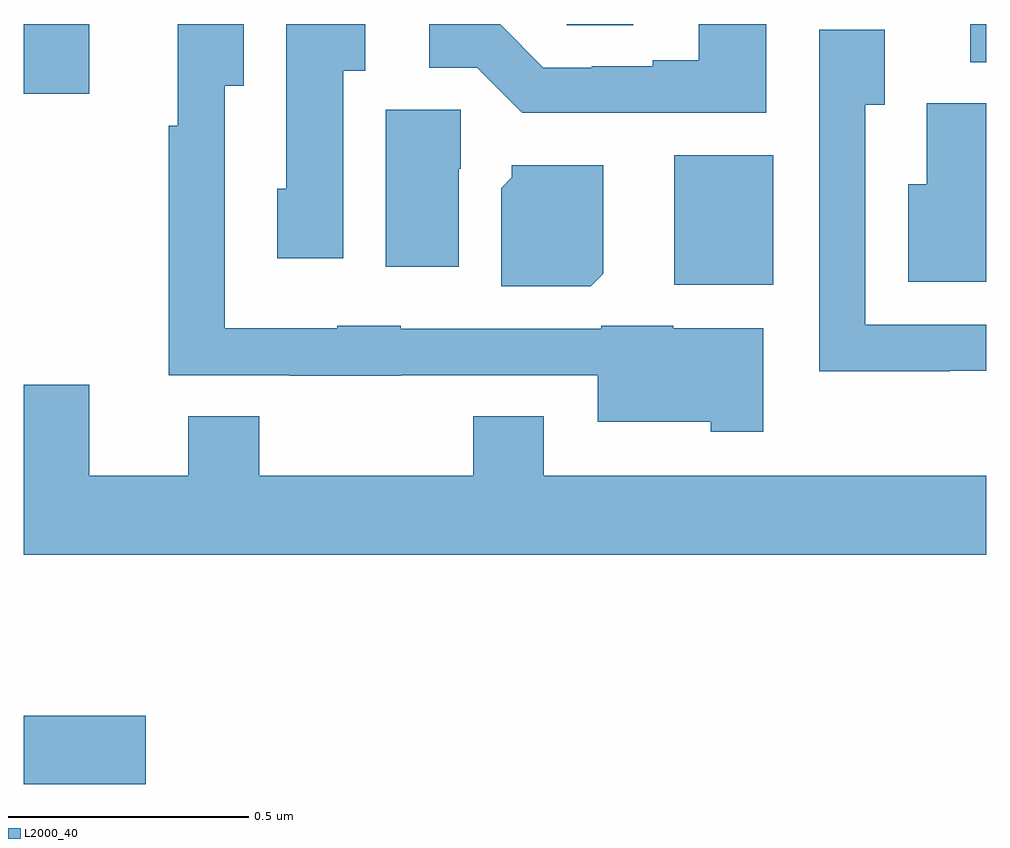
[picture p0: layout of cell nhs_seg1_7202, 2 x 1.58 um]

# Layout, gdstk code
import gdstk
lib = gdstk.Library(unit=1e-6, precision=1e-09)
def R(c, l, rs):  # rectangles x0, y0, x1, y1
    for r in rs: c.add(gdstk.rectangle(r[:2], r[2:], *l))
def P(c, l, *ps):  # polygons
    for p in ps: c.add(gdstk.Polygon(p, *l))
L2000_40 = (2000, 40)

nhs_seg1_7202 = lib.new_cell('nhs_seg1_7202')
R(nhs_seg1_7202, L2000_40, [(201,520.619,201.253,520.761), (202.352,521.657,202.558,521.926), (201,522.054,201.136,522.199), (202.967,522.119,203,522.199), (202.128,522.196,202.267,522.199)])
P(nhs_seg1_7202, L2000_40, [(201.664,522.102),(201.709,522.102),(201.709,522.199),(201.545,522.199),(201.545,521.856),(201.527,521.856),(201.527,521.712),(201.664,521.712)],
  [(202.543,522.199),(202.403,522.199),(202.403,522.124),(202.307,522.124),(202.307,522.111),(202.18,522.111),(202.18,522.108),(202.08,522.108),(201.99,522.199),(201.843,522.199),(201.843,522.108),(201.942,522.108),(202.036,522.014),(202.543,522.014)],
  [(202.537,521.566),(202.35,521.566),(202.35,521.572),(202.2,521.572),(202.2,521.565),(201.783,521.565),(201.783,521.572),(201.651,521.572),(201.651,521.566),(201.417,521.566),(201.417,522.071),(201.457,522.071),(201.457,522.199),(201.32,522.199),(201.32,521.987),(201.301,521.987),(201.301,521.469),(201.551,521.469),(201.551,521.468),(201.783,521.468),(201.783,521.469),(202.193,521.469),(202.193,521.372),(202.428,521.372),(202.428,521.351),(202.537,521.351)],
  [(202.925,521.478),(203,521.478),(203,521.574),(202.749,521.574),(202.749,522.031),(202.789,522.031),(202.789,522.187),(202.653,522.187),(202.653,521.477),(202.925,521.477)],
  [(203,522.034),(202.877,522.034),(202.877,521.866),(202.838,521.866),(202.838,521.663),(203,521.663)],
  [(201.904,521.898),(201.908,521.898),(201.908,522.021),(201.752,522.021),(201.752,521.694),(201.904,521.694)],
  [(202.204,521.68),(202.204,521.905),(202.014,521.905),(202.014,521.88),(201.992,521.858),(201.992,521.654),(202.178,521.654)],
  [(203,521.26),(202.081,521.26),(202.081,521.384),(201.934,521.384),(201.934,521.26),(201.489,521.26),(201.489,521.384),(201.341,521.384),(201.341,521.26),(201.136,521.26),(201.136,521.449),(201,521.449),(201,521.096),(203,521.096)])

lib.write_gds('nhs_seg1_7202.gds')
